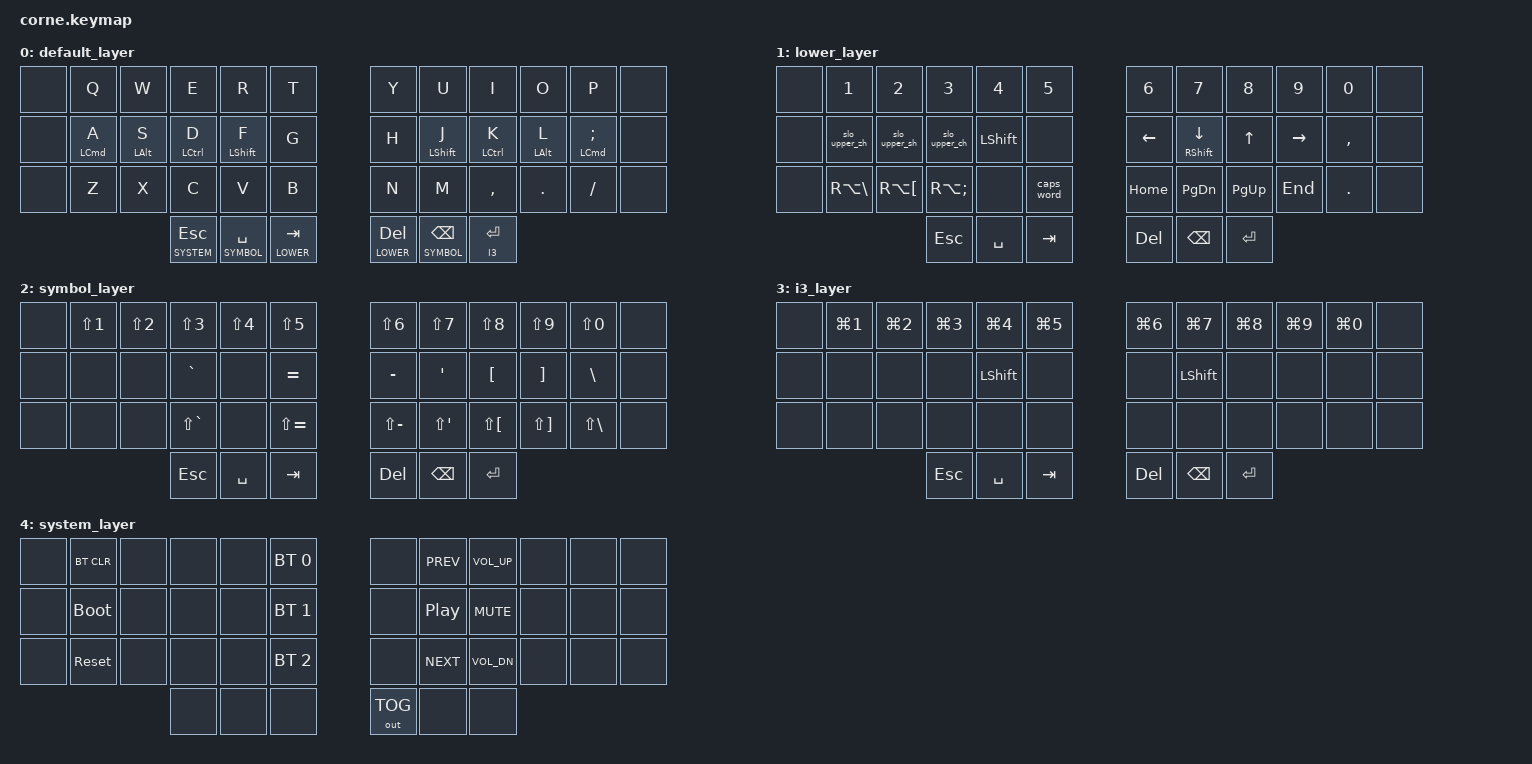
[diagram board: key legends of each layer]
/*
 * Copyright (c) 2020 The ZMK Contributors
 *
 * SPDX-License-Identifier: MIT
 */

/*
 * This is a keymap for Samoklava, a Corne-compatible wireless keyboard. You can use this keymap with a Corne as well.
 * To compile, run these commands:
 *
 *   west build -d build/left -b nice_nano_v2 -- -DSHIELD=corne_left -DZMK_CONFIG='../../samoklava-zmk-config/config'
 *   west build -d build/right -b nice_nano_v2 -- -DSHIELD=corne_right -DZMK_CONFIG='../../samoklava-zmk-config/config'
 *   cp build/left/zephyr/zmk.uf2 ~/Desktop/left.uf2
 *   cp build/right/zephyr/zmk.uf2 ~/Desktop/right.uf2
 */

#include <behaviors.dtsi>
#include <dt-bindings/zmk/keys.h>
#include <dt-bindings/zmk/bt.h>
#include <dt-bindings/zmk/outputs.h>


#define DEFAULT 0
#define LOWER   1
#define SYMBOL  2
#define I3      3
#define SYSTEM  4
#define LWR LOWER
#define SYM SYMBOL
#define SYS SYSTEM

&mt {
    quick-tap-ms = <180>;
    tapping-term-ms = <250>;
};

&lt {
    quick_tap_ms = <200>;
    tapping-term-ms = <180>;
};

/ {
        behaviors {
            //                 Key positions
            //       0  1  2  3  4  5    6  7  8  9 10 11
            //      12 13 14 15 16 17   18 19 20 21 22 23
            //      24 25 26 27 28 29   30 31 32 33 34 35
            //               36 37 38   39 40 41

            hml: homerow_mods_left {
                compatible = "zmk,behavior-hold-tap";
                label = "HOMEROW_MODS_LEFT";
                #binding-cells = <2>;
                flavor = "tap-preferred";
                tapping-term-ms = <170>;
                quick-tap-ms = <200>;
                require-prior-idle-ms = <120>;
                bindings = <&kp>, <&kp>;
                hold-trigger-key-positions = <
                                         6  7  8  9 10
                       13 14 15 16      18 19 20 21 22
                          26            30 31 32 33 34
                             36 37 38   39 40 41
                    >;    // <---[[right-hand keys + all homerow mods + all thumbs]]
            };

            hsl: homerow_shift_left {
                compatible = "zmk,behavior-hold-tap";
                label = "HOMEROW_SHIFT_LEFT";
                #binding-cells = <2>;
                flavor = "tap-preferred";
                tapping-term-ms = <170>;
                quick-tap-ms = <200>;
                require-prior-idle-ms = <50>;
                bindings = <&kp>, <&kp>;
                hold-trigger-key-positions = <
                                         6  7  8  9 10
                       13 14 15 16      18 19 20 21 22
                          26            30 31 32 33 34
                             36 37 38   39 40 41
                    >;    // <---[[right-hand keys + all homerow mods + all thumbs]]
            };

            hmr: homerow_mods_right {
                compatible = "zmk,behavior-hold-tap";
                label = "HOMEROW_MODS_RIGHT";
                #binding-cells = <2>;
                flavor = "tap-preferred";
                tapping-term-ms = <170>;
                quick-tap-ms = <200>;
                require-prior-idle-ms = <120>;
                bindings = <&kp>, <&kp>;
                hold-trigger-key-positions = <
                        1  2  3  4  5
                       13 14 15 16 17      19 20 21 22
                       25 26 27 28 29            33
                             36 37 38   39 40 41
                    >;    // <---[[left-hand keys + all homerow mods + all thumbs]]
            };

            hsr: homerow_shift_right {
                compatible = "zmk,behavior-hold-tap";
                label = "HOMEROW_SHIFT_RIGHT";
                #binding-cells = <2>;
                flavor = "tap-preferred";
                tapping-term-ms = <170>;
                quick-tap-ms = <200>;
                require-prior-idle-ms = <50>;
                bindings = <&kp>, <&kp>;
                hold-trigger-key-positions = <
                        1  2  3  4  5
                       13 14 15 16 17      19 20 21 22
                       25 26 27 28 29            33
                             36 37 38   39 40 41
                    >;    // <---[[left-hand keys + all homerow mods + all thumbs]]
            };
        };

        macros {
            // Slovenian chars
            slo_upper_ch: slo_upper_ch {
                label = "slo_upper_ch";
                compatible = "zmk,behavior-macro";
                #binding-cells = <0>;
                bindings
                    = <&macro_press &kp RIGHT_ALT>
                    , <&macro_press &kp RIGHT_SHIFT>
                    , <&macro_tap &kp SEMICOLON>
                    , <&macro_release &kp RIGHT_SHIFT>
                    , <&macro_release &kp RIGHT_ALT>
                    ;
            };
            slo_upper_zh: slo_upper_zh {
                label = "slo_upper_zh";
                compatible = "zmk,behavior-macro";
                #binding-cells = <0>;
                bindings
                    = <&macro_press &kp RIGHT_ALT>
                    , <&macro_press &kp RIGHT_SHIFT>
                    , <&macro_tap &kp BACKSLASH>
                    , <&macro_release &kp RIGHT_SHIFT>
                    , <&macro_release &kp RIGHT_ALT>
                    ;
            };
            slo_upper_sh: slo_upper_sh {
                label = "slo_upper_sh";
                compatible = "zmk,behavior-macro";
                #binding-cells = <0>;
                bindings
                    = <&macro_press &kp RIGHT_ALT>
                    , <&macro_press &kp RIGHT_SHIFT>
                    , <&macro_tap &kp LBKT>
                    , <&macro_release &kp RIGHT_SHIFT>
                    , <&macro_release &kp RIGHT_ALT>
                    ;
            };
        };


        keymap {
                compatible = "zmk,keymap";

                default_layer {
                        bindings = <
   &none &kp Q        &kp W         &kp E          &kp R         &kp T             &kp Y         &kp U            &kp I           &kp O            &kp P          &none
   &none &hml LCMD A  &hml LALT S   &hml LCTRL D   &hsl LSHFT F  &kp G             &kp H         &hsr LSHFT J     &hmr LCTRL K    &hmr LALT L      &hmr LCMD SEMI &none
   &none &kp Z        &kp X         &kp C          &kp V         &kp B             &kp N         &kp M            &kp COMMA       &kp  DOT         &kp FSLH       &none
                                    &lt SYS ESC    &lt SYM SPACE &lt LWR TAB       &lt LWR DEL   &lt SYM BSPC     &lt I3 RET
                        >;
                };
                lower_layer {
                        bindings = <
   &none &kp N1        &kp N2        &kp N3        &kp N4        &kp N5            &kp N6        &kp N7           &kp N8           &kp N9          &kp N0         &none
   &none &slo_upper_zh &slo_upper_sh &slo_upper_ch &kp LSHFT     &none             &kp LEFT      &hsr RSHFT DOWN  &kp UP           &kp RIGHT       &kp COMMA      &none
   &none &kp RA(BSLH)  &kp RA(LBKT)  &kp RA(SEMI)  &none         &caps_word        &kp HOME      &kp PG_DN        &kp PG_UP        &kp END         &kp DOT        &none
                                     &kp ESC       &kp SPACE     &kp TAB           &kp DEL       &kp BSPC         &kp RET
                        >;
                };
                symbol_layer {
                        bindings = <
   &none &kp LS(N1)    &kp LS(N2)    &kp LS(N3)    &kp LS(N4)    &kp LS(N5)        &kp LS(N6)    &kp LS(N7)       &kp LS(N8)       &kp LS(N9)      &kp LS(N0)     &none
   &none &none         &none         &kp GRAVE     &none         &kp EQUAL         &kp MINUS     &kp SQT          &kp LBKT         &kp RBKT        &kp BSLH       &none
   &none &none         &none         &kp LS(GRAVE) &none         &kp LS(EQUAL)     &kp LS(MINUS) &kp LS(SQT)      &kp LS(LBKT)     &kp LS(RBKT)    &kp LS(BSLH)   &none
                                     &kp ESC       &kp SPACE     &kp TAB           &kp DEL       &kp BSPC         &kp RET
                        >;
                };
                i3_layer {
                        bindings = <
   &none &kp LG(N1)    &kp LG(N2)    &kp LG(N3)    &kp LG(N4)    &kp LG(N5)        &kp LG(N6)    &kp LG(N7)       &kp LG(N8)       &kp LG(N9)      &kp LG(N0)     &none
   &none &none         &none         &none         &kp LSHFT     &none             &none         &kp LSHFT        &none            &none           &none          &none
   &none &none         &none         &none         &none         &none             &none         &none            &none            &none           &none          &none
                                     &kp ESC       &kp SPACE     &kp TAB           &kp DEL       &kp BSPC         &kp RET
                        >;
                };
                system_layer {
                        bindings = <
   &none &bt BT_CLR   &none         &none          &none         &bt BT_SEL 0      &none         &kp C_PREV       &kp C_VOL_UP     &none           &none          &none
   &none &bootloader  &none         &none          &none         &bt BT_SEL 1      &none         &kp C_PP         &kp K_MUTE       &none           &none          &none
   &none &sys_reset   &none         &none          &none         &bt BT_SEL 2      &none         &kp C_NEXT       &kp C_VOL_DN     &none           &none          &none
                                    &none          &none         &none             &out OUT_TOG  &none            &none
                        >;
                };
        };
};
